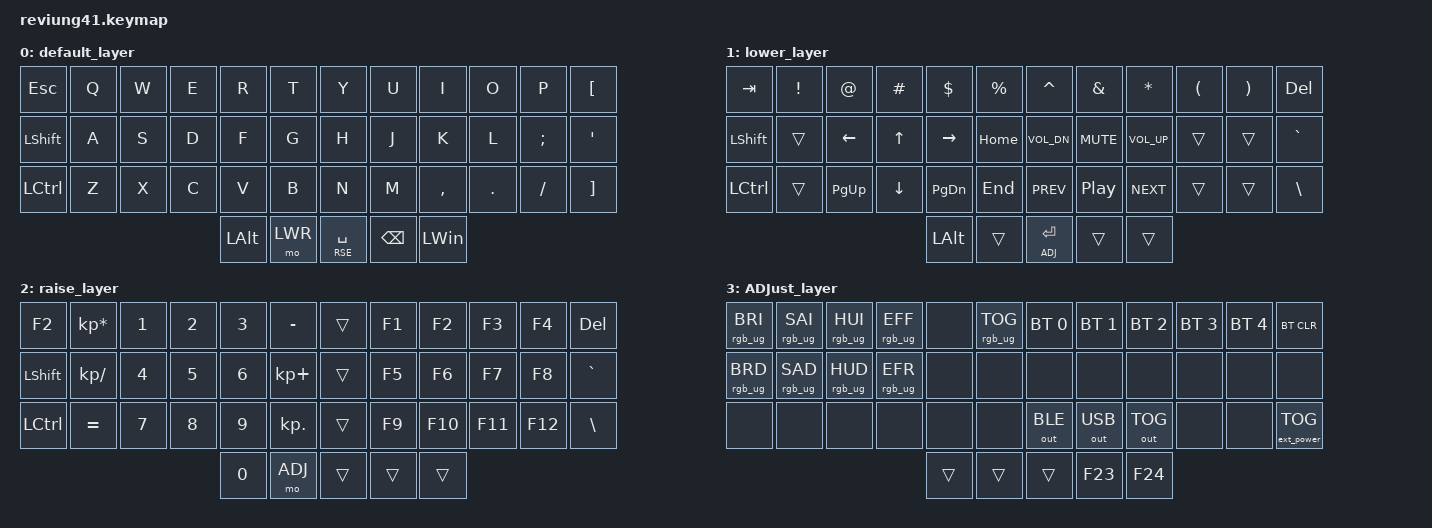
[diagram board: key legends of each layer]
/*
 * Copyright (c) 2020 The ZMK Contributors
 *
 * SPDX-License-Identifier: MIT
 */

#include <behaviors.dtsi>
#include <dt-bindings/zmk/outputs.h>
#include <dt-bindings/zmk/keys.h>
#include <dt-bindings/zmk/bt.h>
#include <dt-bindings/zmk/rgb.h>
#include <dt-bindings/zmk/ext_power.h>
#define DEF 0
#define LWR 1
#define RSE 2
#define ADJ 3

/ {
        keymap {
                compatible = "zmk,keymap";

                default_layer {
// -------------------------------------------------------------------------------------
// | ESС  |  Q  |  W  |  E  |  R  |  T  |         |  Y   |  U   |  I  |  O  |  P  |  [  |
// | SHFT |  A  |  S  |  D  |  F  |  G  |         |  H   |  J   |  K  |  L  |  ;  |  '  |
// | CTRL |  Z  |  X  |  C  |  V  |  B  |         |  N   |  M   |  ,  |  .  |  /  |  ]  |
//                          | ALT | LWR | RSE_SPC | BKSP | WIN  |
                        bindings = <
   &kp ESC   &kp Q &kp W &kp E &kp R     &kp T   &kp Y         &kp U  &kp I     &kp O   &kp P    &kp LBKT
   &kp LSHFT &kp A &kp S &kp D &kp F     &kp G   &kp H         &kp J  &kp K     &kp L   &kp SEMI &kp SQT
   &kp LCTRL &kp Z &kp X &kp C &kp V     &kp B   &kp N         &kp M  &kp COMMA &kp DOT &kp FSLH &kp RBKT
                               &kp LALT  &mo LWR &lt RSE SPACE &kp BSPC  &kp LWIN
                        >;
                };

                lower_layer {
// ----------------------------------------------------------------------------------
// |  TAB  |  !  |   @   |  #   |   $   |  %   |           |    ^   |   &  |    *   |  (  |  )  |  DEL  |
// |  SHFT |     | LEFT  |  UP  | RIGHT | HOME |           | vol up | mute | vol dn |     |     |   ~   |
// |  CTRL |     | PG_UP | DOWN | PG_DN | END  |           |  prev  | play |  next  |     |     |   \   |
//                              |  ALT  |      | ADJ_ENTER |        |      |
                        bindings = <
   &kp TAB    &kp EXCL  &kp AT     &kp HASH &kp DLLR  &kp PRCNT    &kp CARET    &kp AMPS   &kp STAR     &kp LPAR   &kp RPAR  &kp DEL
   &kp LSHFT  &trans    &kp LEFT   &kp UP   &kp RIGHT &kp HOME     &kp C_VOL_DN &kp C_MUTE &kp C_VOL_UP &trans     &trans    &kp GRAVE
   &kp LCTRL  &trans    &kp PG_UP  &kp DOWN &kp PG_DN &kp END      &kp C_PREV   &kp C_PP   &kp C_NEXT   &trans     &trans    &kp BSLH
                                   &kp LALT &trans       &lt ADJ ENTER          &trans     &trans
                        >;
                };

                raise_layer {
// ----------------------------------------------------------------------------------------
// |  F2  |  *  |  1  |  2  |  3  |  -  |   |     | F1 | F2  | F3  | F4  | DEL |
// | SHFT |  /  |  4  |  5  |  6  |  +  |   |     | F5 | F6  | F7  | F8  |  ~  |
// | CTRL |  =  |  7  |  8  |  9  |  .  |   |     | F9 | F10 | F11 | F12 |  \  |
//                          |  0  | ADJ |   |     |    |
                        bindings = <
   &kp F2    &kp KP_ASTERISK &kp N1 &kp N2 &kp N3 &kp MINUS             &trans &kp F1  &kp F2  &kp F3  &kp F4  &kp DEL
   &kp LSHFT &kp KP_SLASH    &kp N4 &kp N5 &kp N6 &kp KP_PLUS           &trans &kp F5  &kp F6  &kp F7  &kp F8  &kp GRAVE
   &kp LCTRL &kp EQUAL       &kp N7 &kp N8 &kp N9 &kp KP_DOT            &trans &kp F9  &kp F10 &kp F11 &kp F12 &kp BSLH
                                           &kp N0 &mo ADJ    &trans  &trans &trans
                        >;
                };

                ADJust_layer {
// -----------------------------------------------------------------------------------------
// | RGB BRI+ | RGB SAT+ | RGB HUE+ | RGB ANI+ |    | RGB TOG |        | BT1 | BT2 | BT3 | BT4 | BT5 | BT CLR |
// | RGB BRI- | RGB SAT- | RGB HUE- | RGB ANI+ |    |         |        |     |     |     |     |     |        |
// |          |          |          |          |    |         |        |OUT_BLE|OUT_USB|OUT_TOG|     |     | EXT_POWER_TOGGLE_CMD |
//                                             |    |         |        | F23 | F24 |
                        bindings = <
   &rgb_ug RGB_BRI &rgb_ug RGB_SAI &rgb_ug RGB_HUI &rgb_ug RGB_EFF &none &rgb_ug RGB_TOG    &bt BT_SEL 0 &bt BT_SEL 1 &bt BT_SEL 2 &bt BT_SEL 3 &bt BT_SEL 4 &bt BT_CLR
   &rgb_ug RGB_BRD &rgb_ug RGB_SAD &rgb_ug RGB_HUD &rgb_ug RGB_EFR &none &none              &none        &none        &none        &none        &none        &none
   &none           &none           &none           &none           &none &none              &out OUT_BLE &out OUT_USB &out OUT_TOG &none        &none        &ext_power EP_TOG
                                                             &trans      &trans       &trans        &kp F23      &kp F24
                        >;
                };
        };
};
